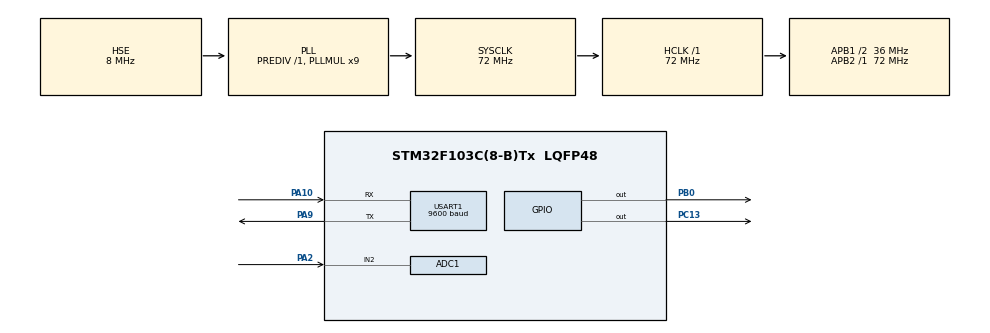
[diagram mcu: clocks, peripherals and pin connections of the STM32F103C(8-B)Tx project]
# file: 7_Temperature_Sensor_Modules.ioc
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Mcu.Family=STM32F1
RCC.PLLSourceVirtual=RCC_PLLSOURCE_HSE
NVIC.ADC1_2_IRQn=true\:0\:0\:false\:false\:true\:true\:true
PD1-OSC_OUT.Mode=HSE-External-Oscillator
PA10.Mode=Asynchronous
ADC1.ContinuousConvMode=ENABLE
USART1.BaudRate=9600
SH.ADCx_IN2.0=ADC1_IN2,IN2
PC13-TAMPER-RTC.Signal=GPIO_Output
PD0-OSC_IN.Signal=RCC_OSC_IN
RCC.APB1CLKDivider=RCC_HCLK_DIV2
RCC.SYSCLKSource=RCC_SYSCLKSOURCE_PLLCLK
ProjectManager.StackSize=0x400
PD1-OSC_OUT.Signal=RCC_OSC_OUT
RCC.ADCPresc=RCC_ADCPCLK2_DIV6
PA13.Signal=SYS_JTMS-SWDIO
PA9.Mode=Asynchronous
TIM1.Prescaler=72-1
ProjectManager.TargetToolchain=STM32CubeIDE
RCC.HCLKFreq_Value=72000000
RCC.APB2TimFreq_Value=72000000
PA9.Signal=USART1_TX
ADC1.Channel-1\#ChannelRegularConversion=ADC_CHANNEL_2
RCC.USBFreq_Value=72000000
RCC.AHBFreq_Value=72000000
PD0-OSC_IN.Mode=HSE-External-Oscillator
board=custom
RCC.PLLMUL=RCC_PLL_MUL9
RCC.APB2Freq_Value=72000000
PA14.Mode=Serial_Wire
PA13.Mode=Serial_Wire
Mcu.Name=STM32F103C(8-B)Tx
VP_TIM1_VS_ClockSourceINT.Mode=Internal
PA2.Signal=ADCx_IN2
ADC1.SamplingTime-1\#ChannelRegularConversion=ADC_SAMPLETIME_28CYCLES_5
RCC.SYSCLKFreq_VALUE=72000000
Mcu.Package=LQFP48
ADC1.master=1
USART1.VirtualMode=VM_ASYNC
ADC1.Rank-1\#ChannelRegularConversion=1
PA10.Signal=USART1_RX
PA14.Signal=SYS_JTCK-SWCLK
ProjectManager.HeapSize=0x200
NVIC.PriorityGroup=NVIC_PRIORITYGROUP_4
ADC1.NbrOfConversionFlag=1
RCC.APB1TimFreq_Value=72000000
TIM1.Period=0xffff-1
RCC.APB1Freq_Value=36000000
PB0.Signal=GPIO_Output

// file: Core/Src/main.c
/* USER CODE BEGIN Header */
/**
 ******************************************************************************
 * @file           : main.c
 * @brief          : Main program body
 ******************************************************************************
 * @attention
 *
 * <h2><center>&copy; Copyright (c) 2021 STMicroelectronics.
 * All rights reserved.</center></h2>
 *
 * This software component is licensed by ST under BSD 3-Clause license,
 * the "License"; You may not use this file except in compliance with the
 * License. You may obtain a copy of the License at:
 *                        opensource.org/licenses/BSD-3-Clause
 *
 ******************************************************************************
 */
/* USER CODE END Header */
#include "main.h"

/* USER CODE BEGIN Includes */
#include "string.h"
/* USER CODE END Includes */

ADC_HandleTypeDef hadc1;

TIM_HandleTypeDef htim1;

UART_HandleTypeDef huart1;

/* USER CODE BEGIN PV */
volatile uint16_t adcVal1;
volatile uint16_t adcVal2;
char Buff[10];
uint16_t calibration[10];
uint8_t Presence = 0;
uint8_t Rh_byte1, Rh_byte2, Temp_byte1, Temp_byte2;
uint16_t SUM, RH, TEMP;
float Temperature = 0;

/* USER CODE END PV */

void SystemClock_Config(void);
static void MX_GPIO_Init(void);
static void MX_USART1_UART_Init(void);
static void MX_ADC1_Init(void);
static void MX_TIM1_Init(void);

/* USER CODE BEGIN 0 */
#define DS18B20_PORT GPIOB
#define DS18B20_PIN GPIO_PIN_0
void Delay_us(uint16_t time) {
	/* change your code here for the Delay_us in microseconds */
	__HAL_TIM_SET_COUNTER(&htim1, 0);  // set the counter value a 0
	while ((__HAL_TIM_GET_COUNTER(&htim1)) < time)
		;  // wait for the counter to reach the us input in the parameter
}
void Set_Pin_Output(GPIO_TypeDef *GPIOx, uint16_t GPIO_Pin) {
	GPIO_InitTypeDef GPIO_InitStruct = { 0 };
	GPIO_InitStruct.Pin = GPIO_Pin;
	GPIO_InitStruct.Mode = GPIO_MODE_OUTPUT_PP;
	GPIO_InitStruct.Speed = GPIO_SPEED_FREQ_LOW;
	HAL_GPIO_Init(GPIOx, &GPIO_InitStruct);
}

void Set_Pin_Input(GPIO_TypeDef *GPIOx, uint16_t GPIO_Pin) {
	GPIO_InitTypeDef GPIO_InitStruct = { 0 };
	GPIO_InitStruct.Pin = GPIO_Pin;
	GPIO_InitStruct.Mode = GPIO_MODE_INPUT;
	GPIO_InitStruct.Pull = GPIO_PULLUP;
	HAL_GPIO_Init(GPIOx, &GPIO_InitStruct);
}
uint8_t DS18B20_Start(void) {
	uint8_t Response = 0;
	Set_Pin_Output(DS18B20_PORT, DS18B20_PIN);   // set the pin as output
	HAL_GPIO_WritePin(DS18B20_PORT, DS18B20_PIN, 0);  // pull the pin low
	Delay_us(480);   // Delay_us according to datasheet

	Set_Pin_Input(DS18B20_PORT, DS18B20_PIN);    // set the pin as input
	Delay_us(80);    // Delay_us according to datasheet

	if (!(HAL_GPIO_ReadPin(DS18B20_PORT, DS18B20_PIN)))
		Response = 1;    // if the pin is low i.e the presence pulse is detected
	else
		Response = -1;

	Delay_us(400); // 480 us Delay_us totally.

	return Response;
}

void DS18B20_Write(uint8_t data) {
	Set_Pin_Output(DS18B20_PORT, DS18B20_PIN);  // set as output

	for (int i = 0; i < 8; i++) {

		if ((data & (1 << i)) != 0)  // if the bit is high
				{
			// write 1

			Set_Pin_Output(DS18B20_PORT, DS18B20_PIN);  // set as output
			HAL_GPIO_WritePin(DS18B20_PORT, DS18B20_PIN, 0); // pull the pin LOW
			Delay_us(1);  // wait for 1 us

			Set_Pin_Input(DS18B20_PORT, DS18B20_PIN);  // set as input
			Delay_us(50);  // wait for 60 us
		}

		else  // if the bit is low
		{
			// write 0

			Set_Pin_Output(DS18B20_PORT, DS18B20_PIN);
			HAL_GPIO_WritePin(DS18B20_PORT, DS18B20_PIN, 0); // pull the pin LOW
			Delay_us(50);  // wait for 60 us

			Set_Pin_Input(DS18B20_PORT, DS18B20_PIN);
		}
	}
}

uint8_t DS18B20_Read(void) {
	uint8_t value = 0;

	Set_Pin_Input(DS18B20_PORT, DS18B20_PIN);

	for (int i = 0; i < 8; i++) {
		Set_Pin_Output(DS18B20_PORT, DS18B20_PIN);   // set as output

		HAL_GPIO_WritePin(DS18B20_PORT, DS18B20_PIN, 0); // pull the data pin LOW
		Delay_us(1);  // wait for > 1us

		Set_Pin_Input(DS18B20_PORT, DS18B20_PIN);  // set as input
		if (HAL_GPIO_ReadPin(DS18B20_PORT, DS18B20_PIN))  // if the pin is HIGH
				{
			value |= 1 << i;  // read = 1
		}
		Delay_us(50);  // wait for 60 us
	}
	return value;
}
float lm35Convert(uint8_t adcVal) {
	return (adcVal * 3300) / 4096.0;
}
uint8_t ds18b20Convert(uint8_t adcVal) {

}
void uprintf(char *str) {
	HAL_UART_Transmit(&huart1, (uint8_t*) str, strlen(str), 100);
}
void HAL_ADC_ConvCpltCallback(ADC_HandleTypeDef *hadc) {
	if (hadc->Instance == hadc1.Instance) {
		adcVal2 = HAL_ADC_GetValue(hadc);
	}
}

/* USER CODE END 0 */

int main(void) {

	/* MCU Configuration--------------------------------------------------------*/

	/* Reset of all peripherals, Initializes the Flash interface and the Systick. */
	HAL_Init();

	/* Configure the system clock */
	SystemClock_Config();

	/* Initialize all configured peripherals */
	MX_GPIO_Init();
	MX_USART1_UART_Init();
	MX_ADC1_Init();
	MX_TIM1_Init();
	/* USER CODE BEGIN 2 */

//  HAL_ADC_Start(&hadc1);
	//HAL_ADC_Start_IT(&hadc1);
	HAL_TIM_Base_Start(&htim1);

	/* USER CODE END 2 */

	/* Infinite loop */
	while (1) {
		/* USER CODE BEGIN 3 */
		Presence = DS18B20_Start();
		HAL_Delay(1);
		DS18B20_Write(0xCC);  // skip ROM
		DS18B20_Write(0x44);  // convert t
		HAL_Delay(800);
		Presence = DS18B20_Start();
		HAL_Delay(1);
		DS18B20_Write(0xCC);  // skip ROM
		DS18B20_Write(0xBE);  // Read Scratch-pad

		Temp_byte1 = DS18B20_Read();
		Temp_byte2 = DS18B20_Read();
		TEMP = (Temp_byte2 << 8) | Temp_byte1;
		Temperature = (float) TEMP / 16;
		HAL_Delay(1000);
	}
	/* USER CODE END 3 */
}

void SystemClock_Config(void) {
	RCC_OscInitTypeDef RCC_OscInitStruct = { 0 };
	RCC_ClkInitTypeDef RCC_ClkInitStruct = { 0 };
	RCC_PeriphCLKInitTypeDef PeriphClkInit = { 0 };

	/** Initializes the RCC Oscillators according to the specified parameters
	 * in the RCC_OscInitTypeDef structure.
	 */
	RCC_OscInitStruct.OscillatorType = RCC_OSCILLATORTYPE_HSE;
	RCC_OscInitStruct.HSEState = RCC_HSE_ON;
	RCC_OscInitStruct.HSEPredivValue = RCC_HSE_PREDIV_DIV1;
	RCC_OscInitStruct.HSIState = RCC_HSI_ON;
	RCC_OscInitStruct.PLL.PLLState = RCC_PLL_ON;
	RCC_OscInitStruct.PLL.PLLSource = RCC_PLLSOURCE_HSE;
	RCC_OscInitStruct.PLL.PLLMUL = RCC_PLL_MUL9;
	if (HAL_RCC_OscConfig(&RCC_OscInitStruct) != HAL_OK) {
		Error_Handler();
	}
	/** Initializes the CPU, AHB and APB buses clocks
	 */
	RCC_ClkInitStruct.ClockType = RCC_CLOCKTYPE_HCLK | RCC_CLOCKTYPE_SYSCLK
			| RCC_CLOCKTYPE_PCLK1 | RCC_CLOCKTYPE_PCLK2;
	RCC_ClkInitStruct.SYSCLKSource = RCC_SYSCLKSOURCE_PLLCLK;
	RCC_ClkInitStruct.AHBCLKDivider = RCC_SYSCLK_DIV1;
	RCC_ClkInitStruct.APB1CLKDivider = RCC_HCLK_DIV2;
	RCC_ClkInitStruct.APB2CLKDivider = RCC_HCLK_DIV1;

	if (HAL_RCC_ClockConfig(&RCC_ClkInitStruct, FLASH_LATENCY_2) != HAL_OK) {
		Error_Handler();
	}
	PeriphClkInit.PeriphClockSelection = RCC_PERIPHCLK_ADC;
	PeriphClkInit.AdcClockSelection = RCC_ADCPCLK2_DIV6;
	if (HAL_RCCEx_PeriphCLKConfig(&PeriphClkInit) != HAL_OK) {
		Error_Handler();
	}
}

static void MX_ADC1_Init(void) {

	ADC_ChannelConfTypeDef sConfig = { 0 };

	/** Common config
	 */
	hadc1.Instance = ADC1;
	hadc1.Init.ScanConvMode = ADC_SCAN_DISABLE;
	hadc1.Init.ContinuousConvMode = ENABLE;
	hadc1.Init.DiscontinuousConvMode = DISABLE;
	hadc1.Init.ExternalTrigConv = ADC_SOFTWARE_START;
	hadc1.Init.DataAlign = ADC_DATAALIGN_RIGHT;
	hadc1.Init.NbrOfConversion = 1;
	if (HAL_ADC_Init(&hadc1) != HAL_OK) {
		Error_Handler();
	}
	/** Configure Regular Channel
	 */
	sConfig.Channel = ADC_CHANNEL_2;
	sConfig.Rank = ADC_REGULAR_RANK_1;
	sConfig.SamplingTime = ADC_SAMPLETIME_28CYCLES_5;
	if (HAL_ADC_ConfigChannel(&hadc1, &sConfig) != HAL_OK) {
		Error_Handler();
	}

}

static void MX_TIM1_Init(void) {

	TIM_ClockConfigTypeDef sClockSourceConfig = { 0 };
	TIM_MasterConfigTypeDef sMasterConfig = { 0 };

	htim1.Instance = TIM1;
	htim1.Init.Prescaler = 72 - 1;
	htim1.Init.CounterMode = TIM_COUNTERMODE_UP;
	htim1.Init.Period = 0xffff - 1;
	htim1.Init.ClockDivision = TIM_CLOCKDIVISION_DIV1;
	htim1.Init.RepetitionCounter = 0;
	htim1.Init.AutoReloadPreload = TIM_AUTORELOAD_PRELOAD_DISABLE;
	if (HAL_TIM_Base_Init(&htim1) != HAL_OK) {
		Error_Handler();
	}
	sClockSourceConfig.ClockSource = TIM_CLOCKSOURCE_INTERNAL;
	if (HAL_TIM_ConfigClockSource(&htim1, &sClockSourceConfig) != HAL_OK) {
		Error_Handler();
	}
	sMasterConfig.MasterOutputTrigger = TIM_TRGO_RESET;
	sMasterConfig.MasterSlaveMode = TIM_MASTERSLAVEMODE_DISABLE;
	if (HAL_TIMEx_MasterConfigSynchronization(&htim1, &sMasterConfig)
			!= HAL_OK) {
		Error_Handler();
	}

}

static void MX_USART1_UART_Init(void) {

	huart1.Instance = USART1;
	huart1.Init.BaudRate = 9600;
	huart1.Init.WordLength = UART_WORDLENGTH_8B;
	huart1.Init.StopBits = UART_STOPBITS_1;
	huart1.Init.Parity = UART_PARITY_NONE;
	huart1.Init.Mode = UART_MODE_TX_RX;
	huart1.Init.HwFlowCtl = UART_HWCONTROL_NONE;
	huart1.Init.OverSampling = UART_OVERSAMPLING_16;
	if (HAL_UART_Init(&huart1) != HAL_OK) {
		Error_Handler();
	}

}

static void MX_GPIO_Init(void) {
	GPIO_InitTypeDef GPIO_InitStruct = { 0 };

	/* GPIO Ports Clock Enable */
	__HAL_RCC_GPIOC_CLK_ENABLE();
	__HAL_RCC_GPIOD_CLK_ENABLE();
	__HAL_RCC_GPIOA_CLK_ENABLE();
	__HAL_RCC_GPIOB_CLK_ENABLE();

	/*Configure GPIO pin Output Level */
	HAL_GPIO_WritePin(GPIOC, GPIO_PIN_13, GPIO_PIN_RESET);

	/*Configure GPIO pin Output Level */
	HAL_GPIO_WritePin(GPIOB, GPIO_PIN_0, GPIO_PIN_RESET);

	/*Configure GPIO pin : PC13 */
	GPIO_InitStruct.Pin = GPIO_PIN_13;
	GPIO_InitStruct.Mode = GPIO_MODE_OUTPUT_PP;
	GPIO_InitStruct.Pull = GPIO_NOPULL;
	GPIO_InitStruct.Speed = GPIO_SPEED_FREQ_LOW;
	HAL_GPIO_Init(GPIOC, &GPIO_InitStruct);

	/*Configure GPIO pin : PB0 */
	GPIO_InitStruct.Pin = GPIO_PIN_0;
	GPIO_InitStruct.Mode = GPIO_MODE_OUTPUT_PP;
	GPIO_InitStruct.Pull = GPIO_NOPULL;
	GPIO_InitStruct.Speed = GPIO_SPEED_FREQ_LOW;
	HAL_GPIO_Init(GPIOB, &GPIO_InitStruct);

}

void Error_Handler(void) {
	__disable_irq();
	while (1) {
	}
}

/************************ (C) COPYRIGHT STMicroelectronics *****END OF FILE****/
